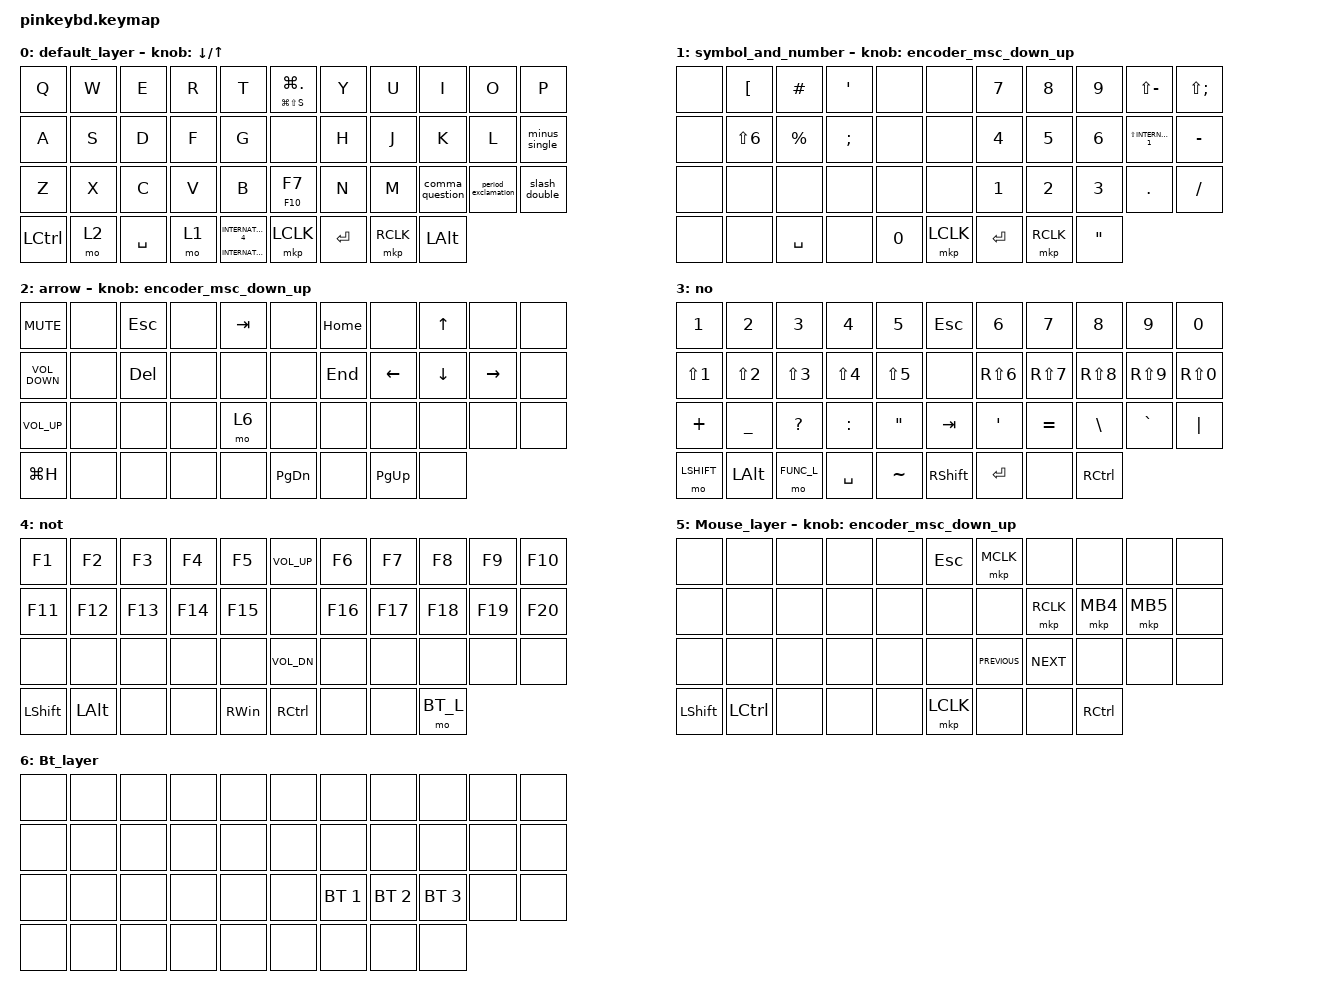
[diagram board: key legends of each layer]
#include "pinkeybd-layer.dtsi"
#include <input/processors.dtsi>
#include <behaviors.dtsi>
#include <dt-bindings/zmk/bt.h>
#include <dt-bindings/zmk/keys.h>
#include <dt-bindings/zmk/pointing.h>
#include "pinkeybd-layouts.dtsi"

#define ZMK_POINTING_DEFAULT_SCRL_VAL 150

&lt { tapping-term-ms = <140>; };

&mt { flavor = "balanced"; };

&mkp_input_listener { input-processors = <&zip_temp_layer 5 300>; };

&kscan0 {
    debounce-press-ms = <1>;
    debounce-release-ms = <5>;
};

/ {
    behaviors {
        encoder_msc_down_up: encoder_msc_down_up {
            compatible = "zmk,behavior-sensor-rotate";
            label = "ENCODER_MSC_DOWN_UP";
            #sensor-binding-cells = <0>;
            bindings = <&msc SCRL_DOWN>, <&msc SCRL_UP>;

            tap-ms = <40>;
        };

        my_lt: layer_tap {
            compatible = "zmk,behavior-hold-tap";
            #binding-cells = <2>;
            flavor = "tap-preferred";
            tapping-term-ms = <250>;
            bindings = <&mo>, <&kp>;

            display-name = "Layer-Tap";
        };

        minus_single: minus_single {
            compatible = "zmk,behavior-mod-morph";
            label = "MINUS_SINGLE";
            bindings = <&kp MINUS>, <&kp LS(N7)>;

            #binding-cells = <0>;
            mods = <(MOD_LSFT)>;
        };

        slash_double: slash_double {
            compatible = "zmk,behavior-mod-morph";
            label = "SLASH_DOUBLE";
            bindings = <&kp SLASH>, <&kp AT_SIGN>;

            #binding-cells = <0>;
            mods = <(MOD_LSFT)>;
        };

        period_exclamation: period_exclamation {
            compatible = "zmk,behavior-mod-morph";
            label = "PERIOD_EXCLAMATION";
            bindings = <&kp PERIOD>, <&kp EXCL>;

            #binding-cells = <0>;
            mods = <(MOD_LSFT)>;
        };

        comma_question: comma_question {
            compatible = "zmk,behavior-mod-morph";
            label = "COMMA_QUESTION";
            bindings = <&kp COMMA>, <&kp QUESTION>;

            #binding-cells = <0>;
            mods = <(MOD_LSFT)>;
        };
    };

    combos {
        compatible = "zmk,combos";

        left_kakko {
            bindings = <&kp LS(N8)>;
            key-positions = <2 3>;
            layers = <0 1>;
        };

        right_kakko {
            bindings = <&kp LS(N9)>;
            key-positions = <3 4>;
            layers = <0 1>;
        };

        left_kagi {
            bindings = <&kp RIGHT_BRACKET>;
            key-positions = <13 14>;
            layers = <0 1>;
        };

        right_kagi {
            bindings = <&kp NUHS>;
            key-positions = <14 15>;
            layers = <0 1>;
        };

        syounari {
            bindings = <&kp LS(COMMA)>;
            key-positions = <24 25>;
            layers = <0 1>;
        };

        dainari {
            bindings = <&kp LS(PERIOD)>;
            key-positions = <25 26>;
            layers = <0 1>;
        };

        left_boot_reset {
            bindings = <&bootloader>;
            key-positions = <0 1 2 3>;
            layers = <0>;
        };

        right_boot_reset {
            bindings = <&bootloader>;
            key-positions = <7 8 9 10>;
            layers = <0>;
        };

        Backspace {
            bindings = <&kp BACKSPACE>;
            key-positions = <18 20>;
            layers = <0 1>;
        };
    };

    keymap {
        compatible = "zmk,keymap";

        // ---------------------------------------------------------------------------------------------------------------------------------------------------------------------------------------------------------------
        // |        /       |       ,       |       .       |      -        |      ;       |    ESC         |                   |           |       L      |       R       |       D       |       Y       |      P      |
        // |        A       |       O       |       E       |      I        |      U       |    SCROLLLOCK  |                   |           |       G      |       N       |       T       |       S       |      K      |
        // |        X       |       C       |       V       |      W        |      F       |    TAB         |                   |     Q     |       J      |       H       |       M       |       B       |      Z      |
        // |    L_SHIFT     |               |               |    Space      |   LOWER / Jp |    LEFT_WIN    |                   |  R_SHIFT  |      ENTER   |   NUM_L / Ja  |               |               |   RCTRL     |
        // ---------------------------------------------------------------------------------------------------------------------------------------------------------------------------------------------------------------

        default_layer {
            bindings = <
&kp Q      &kp W  &kp E      &kp R  &kp T                                &mt LG(LS(S)) LG(PERIOD)  &kp Y      &kp U      &kp I            &kp O                &kp P
&kp A      &kp S  &kp D      &kp F  &kp G                                &none                     &kp H      &kp J      &kp K            &kp L                &minus_single
&kp Z      &kp X  &kp C      &kp V  &kp B                                &mt F10 F7                &kp N      &kp M      &comma_question  &period_exclamation  &slash_double
&kp LCTRL  &mo 2  &kp SPACE  &mo 1  &mt INTERNATIONAL_5 INTERNATIONAL_4  &mkp LCLK                 &kp ENTER  &mkp RCLK  &kp LEFT_ALT
            >;

            sensor-bindings = <&inc_dec_kp DOWN_ARROW UP_ARROW>;
        };

        // ---------------------------------------------------------------------------------------------------------------------------------------------------------------------------------------------------------------
        // |    /           |       <       |       >       |       _       |      ”        |    PAUSE_BREAK|                  |            |      （       |       ）     |        ↑      |        [      |    ]        |
        // |    LC(A)       |       LC(S)   |       END     |       LS(F)   |       U       |    SCROLLLOCK |                  |            |   Backspace   |       ←      |        ↓      |        →      |    DEL      |
        // |    UNDERSCORE  |       CUT     |       COPY    |       PASTE   |       LALT    |    TAB        |                  |   PSCRN    |    ' / "      |    = / +     |    \ / |      |    ` / ~      |    PIPE     |
        // |    L_SHIFT     |               |               |       LALT    |       none    |    SPACE      |                  |   RSHIFT   |   ENTER       |    LOWER2    |               |               |    RCTRL    |
        // ---------------------------------------------------------------------------------------------------------------------------------------------------------------------------------------------------------------

        symbol_and_number {
            bindings = <
&none  &kp LEFT_BRACKET  &kp HASH     &kp SINGLE_QUOTE  &none   &none      &kp N7        &kp N8        &kp N9             &kp LS(MINUS)            &kp LS(SEMI)
&none  &kp LS(NUMBER_6)  &kp PERCENT  &kp SEMI          &none   &none      &kp NUMBER_4  &kp N5        &kp NUMBER_6       &kp LS(INTERNATIONAL_1)  &kp MINUS
&none  &none             &none        &none             &none   &none      &kp NUMBER_1  &kp NUMBER_2  &kp NUMBER_3       &kp PERIOD               &kp SLASH
&none  &none             &kp SPACE    &none             &kp N0  &mkp LCLK  &kp ENTER     &mkp RCLK     &kp DOUBLE_QUOTES
            >;

            sensor-bindings = <&encoder_msc_down_up>;
        };

        // --------------------------------------------------------------------------------------------------------------------------------------------------------------------------------------------------------------
        // |    /           |       ,        |       END     |      C_VOL_UP    |       ’      |    ESC        |                  |            |      {      |      }         |    PG_UP      |     {       |      }    |
        // |    HOME        |       C_SAVE   |       END     |      C_VOL_DN    |   C_MUTE     |    SCROLLLOCK |                  |            |  Backspace  |    HOME        |    PG_DN      |    END      |   DEL     |
        // |    UNDO        |       CUT      |       COPY    |      WIN_PASTE   |       Q      |    TAB        |                  |   PSCRN    |    ' / "    |    = / +       |    \ / |      |    ` / ~    |   INS     |
        // |    L_SHIFT     |                |               |      LCTRL       |       none   |    SPACE      |                  |   ENTER    |    none     |   R_SHIFT      |               |             |   RCTRL   |
        // --------------------------------------------------------------------------------------------------------------------------------------------------------------------------------------------------------------

        arrow {
            bindings = <
&kp C_MUTE         &none  &kp ESCAPE  &none  &kp TAB  &none          &kp HOME  &none           &kp UP_ARROW    &none            &none
&kp C_VOLUME_DOWN  &none  &kp DELETE  &none  &none    &none          &kp END   &kp LEFT_ARROW  &kp DOWN_ARROW  &kp RIGHT_ARROW  &none
&kp C_VOLUME_UP    &none  &none       &none  &mo 6    &none          &none     &none           &none           &none            &none
&kp LG(H)          &none  &none       &none  &none    &kp PAGE_DOWN  &none     &kp PAGE_UP     &none
            >;

            sensor-bindings = <&encoder_msc_down_up>;
        };

        // --------------------------------------------------------------------------------------------------------------------------------------------------------------------------------------------------------------
        // |        1       |      2        |       3       |       4       |       5       |    ESC        |               |            |      6       |      7        |       8       |       9       |       0       |
        // |        !       |      @        |       #       |       $       |       %       |    none       |               |            |      ^       |      &        |       *       |       (       |       )       | 
        // |    PLUS        |   UNDERSCORE  |   QUESTION    |    COLON      |       DQT     |    TAB        |               |   TILDE    |    ' / "     |    = / +      |    \ / |      |    ` / ~      |       PIPE    |
        // |    L_SHIFT     |               |               |    LALT       |   Func_layer  |    SPACE      |               |   R_SHIFT  |      ENTER   |     none      |               |               |       RCTRL   |
        // --------------------------------------------------------------------------------------------------------------------------------------------------------------------------------------------------------------

        no {
            bindings = <
&kp N1      &kp N2      &kp N3      &kp N4      &kp N5      &kp ESC     &kp N6      &kp N7      &kp N8      &kp N9      &kp N0
&kp LS(N1)  &kp LS(N2)  &kp LS(N3)  &kp LS(N4)  &kp LS(N5)  &none       &kp RS(N6)  &kp RS(N7)  &kp RS(N8)  &kp RS(N9)  &kp RS(N0)
&kp PLUS    &kp UNDER   &kp QMARK   &kp COLON   &kp DQT     &kp TAB     &kp APOS    &kp EQUAL   &kp BSLH    &kp GRAVE   &kp PIPE
&mo LSHIFT  &kp LALT    &mo FUNC_L  &kp SPACE   &kp TILDE   &kp RSHIFT  &kp ENTER   &none       &kp RCTRL
            >;
        };

        // ------------------------------------------------------------------------------------------------------------------------------------------------------------------------------------
        // |     F1      |     F2     |     F3     |     F4     |    F5      |    C_VOL_UP  |                |            |    F6      |    F7      |    F8      |    F9       |     F10      |
        // |     F11     |     F12    |     F13    |     F14    |    F15     |    none      |                |            |    F16     |    F17     |    F18     |    F19      |     F20      |
        // |     none    |    none    |    none    |    none    |   none     |    C_VOL_DN  |                | RIGHT_WIN  |    none    |    none    |    none    |    none     |     none     |
        // |     L_SHIFT |            |            |    LALT    |   none     |    none      |                |   RCTRL    |    none    |    none    |            |             |  Bt_layer    |
        // ------------------------------------------------------------------------------------------------------------------------------------------------------------------------------------

        not {
            bindings = <
&kp F1      &kp F2    &kp F3   &kp F4   &kp F5         &kp C_VOL_UP  &kp F6   &kp F7   &kp F8    &kp F9   &kp F10
&kp F11     &kp F12   &kp F13  &kp F14  &kp F15        &none         &kp F16  &kp F17  &kp F18   &kp F19  &kp F20
&none       &none     &none    &none    &none          &kp C_VOL_DN  &none    &none    &none     &none    &none
&kp LSHIFT  &kp LALT  &none    &none    &kp RIGHT_WIN  &kp RCTRL     &none    &none    &mo BT_L
            >;
        };

        // --------------------------------------------------------------------------------------------------------------------------------------------------------------------------------
        // |    none    |    none    |    none    |    none    |   none     |    ESC     |                  |            |    MCLK    |    none    |    none    |   none     |    none    |
        // |    none    |    none    |    none    |    none    |   none     |    none    |                  |            |    none    |    RCLK    |    MB4     |   MB5      |    none    |
        // |    none    |    none    |    none    |    none    |   none     |    none    |                  | C_PREVIOUS |    C_NEXT  |    none    |    none    |   none     |    none    |
        // |    L_SHIFT |            |            |    none    |   none     |    none    |                  |    LCLK    |    none    |    none    |            |            |    RCTRL   |
        // --------------------------------------------------------------------------------------------------------------------------------------------------------------------------------

        Mouse_layer {
            bindings = <
&none       &none      &none  &none  &none  &kp ESC    &mkp MCLK       &none       &none      &none     &none
&none       &none      &none  &none  &none  &none      &none           &mkp RCLK   &mkp MB4   &mkp MB5  &none
&none       &none      &none  &none  &none  &none      &kp C_PREVIOUS  &kp C_NEXT  &none      &none     &none
&kp LSHIFT  &kp LCTRL  &none  &none  &none  &mkp LCLK  &none           &none       &kp RCTRL
            >;

            sensor-bindings = <&encoder_msc_down_up>;
        };

        // --------------------------------------------------------------------------------------------------------------------------------------------------------------------------------
        // |  BT_SEL 0  |  BT_SEL 1  |  BT_SEL 2  |  BT_SEL 3  |            |            |                  |            |    none    |    none    |    none    |   BT_CLR   | BT_CLR_ALL |
        // |    none    |    none    |    none    |    none    |   none     |    none    |                  |    none    |    none    |   BT_PRV   |    none    |   BT_NXT   |    none    |
        // |    none    |    none    |    none    |    none    |   none     |    none    |                  |    none    |    none    |    none    |    none    |   none     |    none    |
        // |    none    |            |            |    none    |   none     |    none    |                  |    none    |    none    |    none    |            |            |    none    |
        // --------------------------------------------------------------------------------------------------------------------------------------------------------------------------------

        Bt_layer {
            bindings = <
&none  &none  &none  &none  &none  &none  &none         &none         &none         &none  &none
&none  &none  &none  &none  &none  &none  &none         &none         &none         &none  &none
&none  &none  &none  &none  &none  &none  &bt BT_SEL 1  &bt BT_SEL 2  &bt BT_SEL 3  &none  &none
&none  &none  &none  &none  &none  &none  &none         &none         &none
            >;
        };
    };
};
